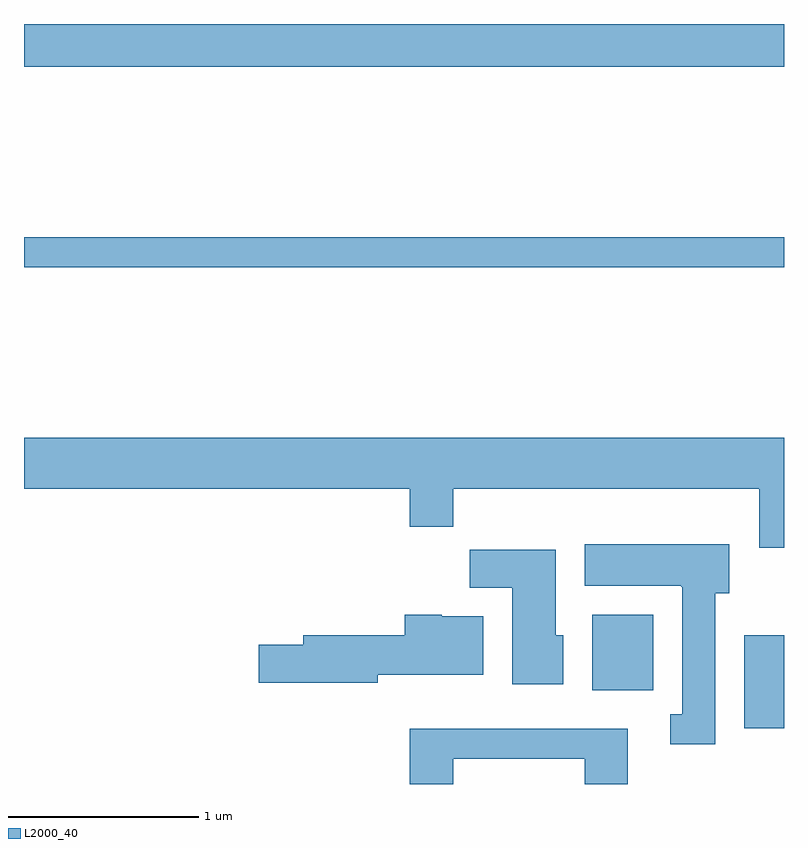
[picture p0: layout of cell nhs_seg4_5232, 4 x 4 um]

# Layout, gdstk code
import gdstk
lib = gdstk.Library(unit=1e-6, precision=1e-09)
def R(c, l, rs):  # rectangles x0, y0, x1, y1
    for r in rs: c.add(gdstk.rectangle(r[:2], r[2:], *l))
def P(c, l, *ps):  # polygons
    for p in ps: c.add(gdstk.Polygon(p, *l))
L2000_40 = (2000, 40)

nhs_seg4_5232 = lib.new_cell('nhs_seg4_5232')
R(nhs_seg4_5232, L2000_40, [(341.401,1382.276,341.611,1382.764), (340.601,1382.476,340.924,1382.874), (337.611,1384.701,341.611,1384.859), (337.611,1385.756,341.611,1385.982)])
P(nhs_seg4_5232, L2000_40, [(341.611,1383.804),(337.611,1383.804),(337.611,1383.536),(339.641,1383.536),(339.641,1383.336),(339.869,1383.336),(339.869,1383.536),(341.481,1383.536),(341.481,1383.226),(341.611,1383.226)],
  [(341.249,1382.986),(341.324,1382.986),(341.324,1383.244),(340.561,1383.244),(340.561,1383.026),(341.07,1383.026),(341.07,1383.02),(341.076,1383.02),(341.076,1382.349),(341.013,1382.349),(341.013,1382.191),(341.249,1382.191)],
  [(340.449,1382.764),(340.409,1382.764),(340.409,1383.214),(339.956,1383.214),(339.956,1383.016),(340.181,1383.016),(340.181,1382.506),(340.449,1382.506)],
  [(339.474,1382.556),(340.029,1382.556),(340.029,1382.864),(339.81,1382.864),(339.81,1382.874),(339.616,1382.874),(339.616,1382.764),(339.081,1382.764),(339.081,1382.714),(338.846,1382.714),(338.846,1382.516),(339.474,1382.516)],
  [(339.869,1382.116),(340.561,1382.116),(340.561,1381.982),(340.789,1381.982),(340.789,1382.274),(339.641,1382.274),(339.641,1381.982),(339.869,1381.982)])

lib.write_gds('nhs_seg4_5232.gds')
